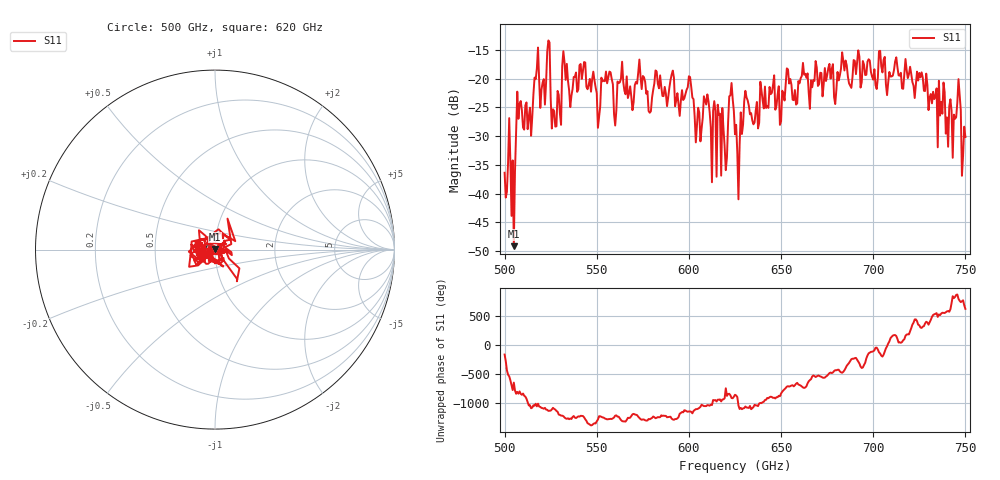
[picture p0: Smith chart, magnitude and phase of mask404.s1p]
!Created with skrf (http://scikit-rf.org).
# GHz S MA R 50.0
!freq magS11 angS11
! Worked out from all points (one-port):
!   401 points, 500 GHz to 750 GHz, reference 50 ohm
!   lowest |S11| = -49.1 dB at 505 GHz (marker M1), VSWR 1.01, Z = 50.1 + j0.33 ohm
!   |S11| at or under -10 dB: start of sweep to end of sweep
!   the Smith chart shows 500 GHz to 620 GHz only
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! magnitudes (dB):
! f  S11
! 500 GHz  -36.4
! 505 GHz  -49.1
! 508.1 GHz  -24.4
! 513.8 GHz  -25.1
! 516.9 GHz  -20.1
! 520.6 GHz  -20.7
! 523.8 GHz  -13.4
! 526.9 GHz  -25.6
! 531.2 GHz  -17.8
! 542.5 GHz  -18.7
! 550.6 GHz  -28.6
! 562.5 GHz  -20.7
! 590.6 GHz  -19.3
! 593.8 GHz  -22.5
! 600 GHz  -19.6
! 605 GHz  -25.1
! 609.4 GHz  -24.5
! 618.8 GHz  -28.7
! 623.1 GHz  -20.8
! 625 GHz  -29.7
! 626.2 GHz  -32.8
! 631.2 GHz  -23.3
! 656.2 GHz  -23.7
! 687.5 GHz  -21.2
! 718.8 GHz  -19.9
! 741.9 GHz  -23.6
! 746.2 GHz  -20.1
! 750 GHz  -30.2
